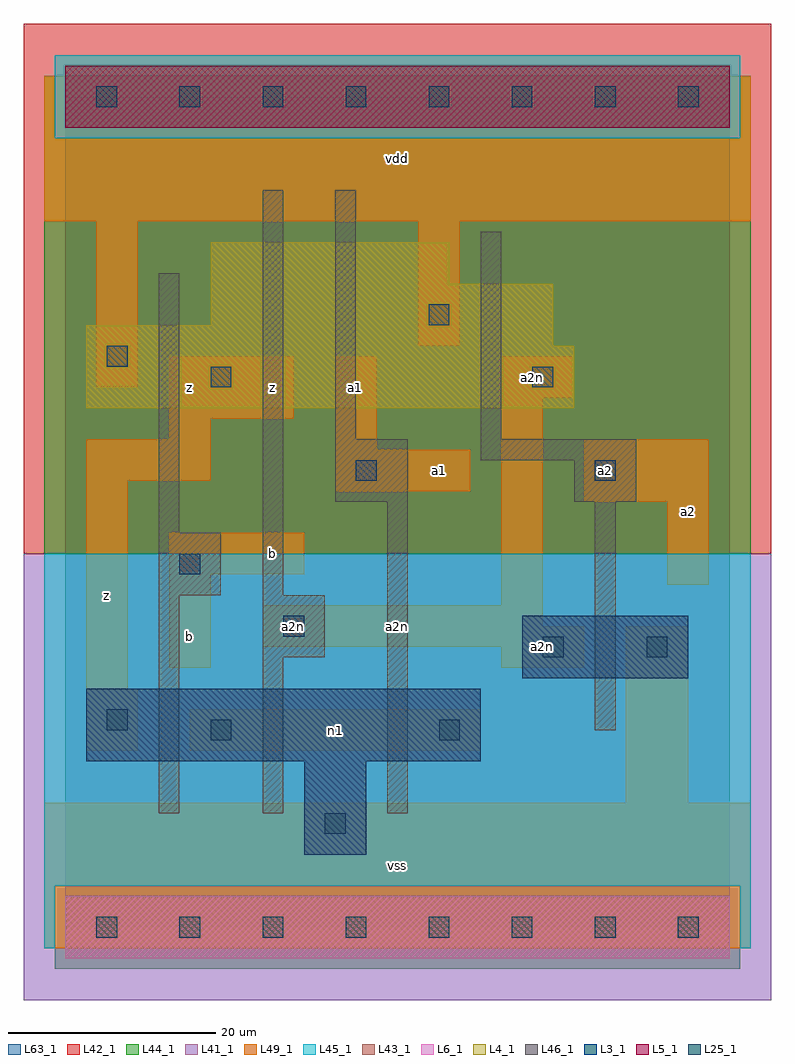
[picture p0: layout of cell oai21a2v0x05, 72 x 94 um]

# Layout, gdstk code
import gdstk
lib = gdstk.Library(unit=1e-6, precision=1e-09)
def R(c, l, rs):  # rectangles x0, y0, x1, y1
    for r in rs: c.add(gdstk.rectangle(r[:2], r[2:], *l))
def A(c, l, x, y, w, h, nx, ny, dx, dy):  # array of equal rectangles
    R(c, l, [(x+i*dx, y+j*dy, x+i*dx+w, y+j*dy+h) for i in range(nx) for j in range(ny)])
L3_1 = (3, 1)
L4_1 = (4, 1)
L5_1 = (5, 1)
L6_1 = (6, 1)
L25_1 = (25, 1)
L41_1 = (41, 1)
L42_1 = (42, 1)
L43_1 = (43, 1)
L44_1 = (44, 1)
L45_1 = (45, 1)
L46_1 = (46, 1)
L49_1 = (49, 1)
L63_1 = (63, 1)

oai21a2v0x05 = lib.new_cell('oai21a2v0x05')
R(oai21a2v0x05, L3_1, [(23,7,29,16), (2,16,40,23), (44,24,60,30)])
R(oai21a2v0x05, L4_1, [(2,50,49,56), (2,56,47,58), (14,58,47,62), (14,62,37,66)])
R(oai21a2v0x05, L5_1, [(0,77,64,83)])
R(oai21a2v0x05, L6_1, [(0,-3,64,3), (0,-3,64,3)])
A(oai21a2v0x05, L25_1, 3, -1, 2, 2, 8, 2, 8, 80)
R(oai21a2v0x05, L25_1, [(25,9,27,11), (14,18,16,20), (36,18,38,20), (4,19,6,21), (46,26,48,28), (56,26,58,28), (21,28,23,30), (11,34,13,36), (28,43,30,45), (51,43,53,45), (14,52,16,54), (45,52,47,54), (4,54,6,56), (35,58,37,60)])
R(oai21a2v0x05, L41_1, [(-4,-7,68,36)])
R(oai21a2v0x05, L42_1, [(-4,36,68,87)])
R(oai21a2v0x05, L43_1, [(0,-3,64,3), (23,7,29,16), (2,16,40,23), (44,24,60,30), (2,50,49,56), (2,56,47,58), (14,58,47,62), (14,62,37,66), (0,77,64,83)])
R(oai21a2v0x05, L44_1, [(-1,-4,65,4), (-2,36,66,76), (-2,76,-1,82), (65,76,66,82)])
R(oai21a2v0x05, L45_1, [(-2,-2,-1,4), (65,-2,66,4), (-2,4,66,36), (-1,76,65,84)])
R(oai21a2v0x05, L46_1, [(9,11,11,32), (19,11,21,26), (31,11,33,41), (51,19,53,41), (19,26,25,32), (9,32,15,38), (19,32,21,71), (9,38,11,63), (26,41,33,47), (49,41,55,45), (40,45,55,47), (26,47,28,71), (40,47,42,67)])
R(oai21a2v0x05, L49_1, [(-2,-2,66,12), (54,12,60,29), (2,17,7,23), (12,17,40,21), (2,23,6,43), (10,25,14,34), (42,25,50,27), (19,27,50,29), (19,29,46,31), (42,31,46,51), (58,33,62,41), (10,34,23,38), (50,41,62,47), (26,42,39,46), (2,43,14,47), (26,46,30,55), (10,47,14,49), (10,49,22,55), (42,51,49,55), (3,52,7,68), (34,56,38,68), (-2,68,66,82)])
R(oai21a2v0x05, L63_1, [(0,0,64,80)])
oai21a2v0x05.add(gdstk.Label('a2n', (22,29), layer=49, texttype=1))
oai21a2v0x05.add(gdstk.Label('z', (4,32), layer=49, texttype=1))
oai21a2v0x05.add(gdstk.Label('b', (12,28), layer=49, texttype=1))
oai21a2v0x05.add(gdstk.Label('b', (20,36), layer=49, texttype=1))
oai21a2v0x05.add(gdstk.Label('z', (20,52), layer=49, texttype=1))
oai21a2v0x05.add(gdstk.Label('z', (12,52), layer=49, texttype=1))
oai21a2v0x05.add(gdstk.Label('vss', (32,6), layer=49, texttype=1))
oai21a2v0x05.add(gdstk.Label('a1', (36,44), layer=49, texttype=1))
oai21a2v0x05.add(gdstk.Label('a1', (28,52), layer=49, texttype=1))
oai21a2v0x05.add(gdstk.Label('vdd', (32,74), layer=49, texttype=1))
oai21a2v0x05.add(gdstk.Label('n1', (26,19), layer=49, texttype=1))
oai21a2v0x05.add(gdstk.Label('a2n', (46,27), layer=49, texttype=1))
oai21a2v0x05.add(gdstk.Label('a2n', (32,29), layer=49, texttype=1))
oai21a2v0x05.add(gdstk.Label('a2n', (45,53), layer=49, texttype=1))
oai21a2v0x05.add(gdstk.Label('a2', (52,44), layer=49, texttype=1))
oai21a2v0x05.add(gdstk.Label('a2', (60,40), layer=49, texttype=1))

lib.write_gds('oai21a2v0x05.gds')
